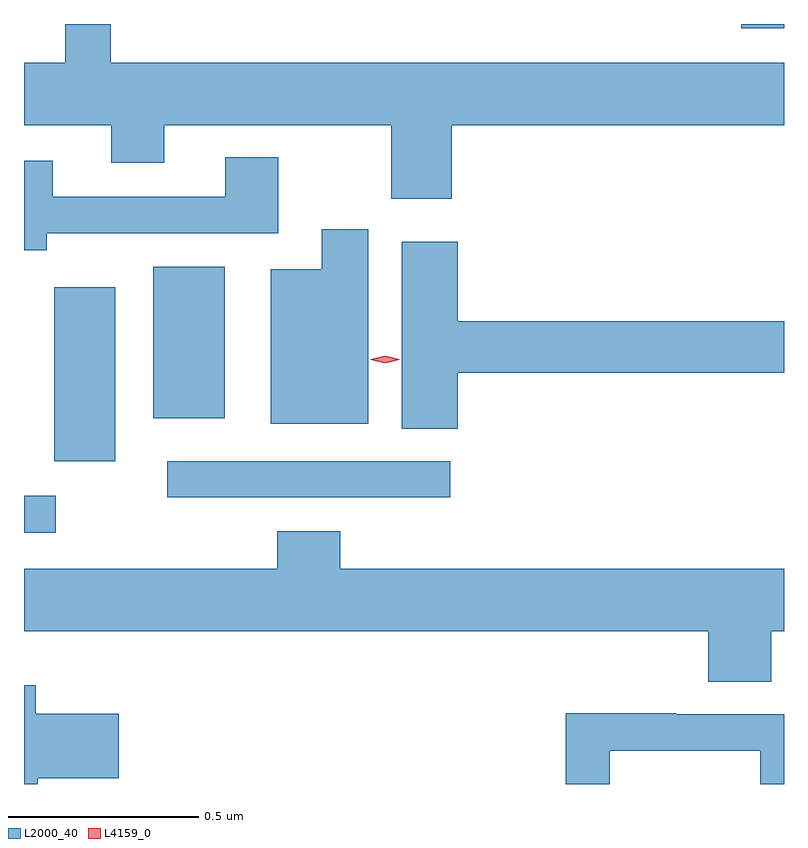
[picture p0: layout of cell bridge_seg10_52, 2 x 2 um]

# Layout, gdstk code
import gdstk
lib = gdstk.Library(unit=1e-6, precision=1e-09)
def R(c, l, rs):  # rectangles x0, y0, x1, y1
    for r in rs: c.add(gdstk.rectangle(r[:2], r[2:], *l))
def P(c, l, *ps):  # polygons
    for p in ps: c.add(gdstk.Polygon(p, *l))
L2000_40 = (2000, 40)
L4159_0 = (4159, 0)

bridge_seg10_52 = lib.new_cell('bridge_seg10_52')
R(bridge_seg10_52, L2000_40, [(867.43,1251.291,867.514,1251.388), (867.807,1251.384,868.552,1251.48), (867.509,1251.479,867.67,1251.937), (867.77,1251.593,867.958,1251.991), (869.318,1252.619,869.43,1252.63)])
P(bridge_seg10_52, L2000_40, [(868.556,1252.364),(869.43,1252.364),(869.43,1252.528),(867.658,1252.528),(867.658,1252.63),(867.539,1252.63),(867.539,1252.528),(867.43,1252.528),(867.43,1252.364),(867.659,1252.364),(867.659,1252.265),(867.799,1252.265),(867.799,1252.364),(868.396,1252.364),(868.396,1252.17),(868.556,1252.17)],
  [(867.49,1252.08),(868.099,1252.08),(868.099,1252.279),(867.959,1252.279),(867.959,1252.176),(867.505,1252.176),(867.505,1252.27),(867.43,1252.27),(867.43,1252.034),(867.49,1252.034)],
  [(868.336,1252.09),(868.214,1252.09),(868.214,1251.985),(868.079,1251.985),(868.079,1251.578),(868.336,1251.578)],
  [(868.571,1251.712),(869.43,1251.712),(869.43,1251.848),(868.571,1251.848),(868.571,1252.057),(868.424,1252.057),(868.424,1251.565),(868.571,1251.565)],
  [(869.396,1251.032),(869.43,1251.032),(869.43,1251.196),(868.262,1251.196),(868.262,1251.295),(868.097,1251.295),(868.097,1251.196),(867.43,1251.196),(867.43,1251.032),(869.231,1251.032),(869.231,1250.899),(869.396,1250.899)],
  [(867.466,1250.645),(867.679,1250.645),(867.679,1250.815),(867.461,1250.815),(867.461,1250.89),(867.43,1250.89),(867.43,1250.63),(867.466,1250.63)],
  [(868.971,1250.718),(869.367,1250.718),(869.367,1250.63),(869.43,1250.63),(869.43,1250.814),(869.147,1250.814),(869.147,1250.816),(868.855,1250.816),(868.855,1250.63),(868.971,1250.63)])
P(bridge_seg10_52, L4159_0, [(868.381,1251.737),(868.343,1251.747),(868.343,1251.747),(868.343,1251.748),(868.381,1251.757),(868.418,1251.748),(868.418,1251.747),(868.418,1251.747)])

lib.write_gds('bridge_seg10_52.gds')
